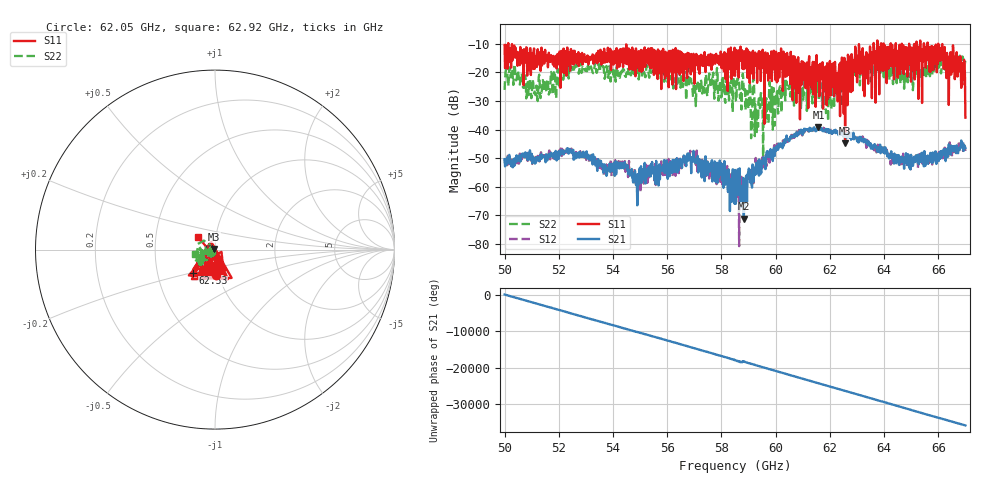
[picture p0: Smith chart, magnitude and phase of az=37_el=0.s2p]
!Created with skrf (http://scikit-rf.org).
# GHz S RI R 50.0
!freq ReS11 ImS11 ReS21 ImS21 ReS12 ImS12 ReS22 ImS22
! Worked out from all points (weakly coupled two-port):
!   1001 points, 50 GHz to 67 GHz, reference 50 ohm
!   highest |S21| = -39.18 dB at 61.58 GHz (marker M1); lowest = -71.2 dB at 58.82 GHz (marker M2)
!   lowest |S11| = -44.9 dB at 62.56 GHz (marker M3), VSWR 1.01, Z = 49.6 + j0.366 ohm
!   |S11| at or under -10 dB: 50.14 GHz to 63.62 GHz (13.48 GHz wide, 23.7 % of centre); 65.61 GHz to 66 GHz (389.5 MHz wide, 0.592 % of centre); 66 GHz to end of sweep (the widest 3 of 15)
!   |S22| runs from -49.4 to -13.9 dB; largest |S21 - S12| = 0.0022
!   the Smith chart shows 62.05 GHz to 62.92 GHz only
!   S11 on the Smith chart (normalised r, x): 62.05 GHz: 0.97, -0.28; 62.53 GHz: 0.76, -0.21; 62.92 GHz: 0.82, +0.12
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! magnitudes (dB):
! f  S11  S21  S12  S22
! 50 GHz  -10.4  -50.4  -50.1  -26.1
! 50.42 GHz  -14.8  -50.3  -51.1  -22.8
! 51.16 GHz  -14.5  -51.5  -50.9  -26.1
! 52.84 GHz  -14.4  -48.8  -50.1  -20.2
! 54.45 GHz  -15.8  -52.7  -54.8  -21.3
! 54.93 GHz  -14.3  -59.5  -60.5  -21.6
! 55.68 GHz  -13.7  -59.6  -58.1  -22.0
! 56.78 GHz  -17.4  -48.5  -50.2  -21.7
! 58.5 GHz  -21.2  -54.1  -63.0  -23.8
! 58.82 GHz  -18.8  -71.2  -64.5  -26.2
! 59.62 GHz  -13.0  -53.9  -50.7  -37.4
! 60.39 GHz  -15.5  -43.1  -43.9  -22.9
! 61.34 GHz  -25.7  -40.3  -40.5  -27.2
! 61.58 GHz  -18.9  -39.2  -39.2  -26.2
! 62.05 GHz  -17.0  -40.5  -40.9  -32.8
! 62.53 GHz  -14.9  -41.5  -40.6  -19.3
! 62.56 GHz  -44.9  -41.4  -42.0  -20.9
! 62.92 GHz  -18.6  -42.6  -42.4  -19.0
! 64.18 GHz  -18.6  -49.4  -48.0  -18.6
! 66.08 GHz  -15.8  -47.6  -47.7  -15.3
! 66.9 GHz  -16.7  -45.6  -46.0  -14.5
! 67 GHz  -35.8  -46.5  -47.5  -15.6
